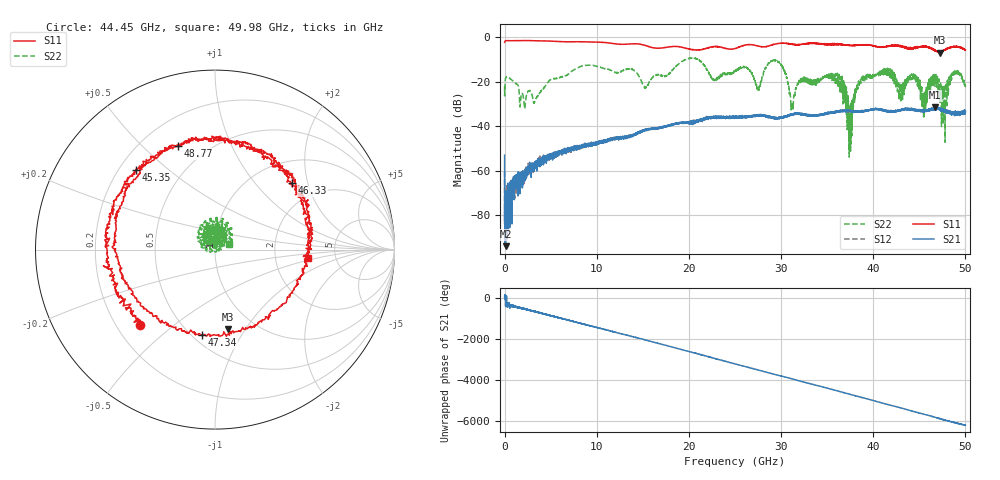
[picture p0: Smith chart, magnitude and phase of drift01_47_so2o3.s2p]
!Created with skrf (http://scikit-rf.org).
# Hz S RI R 50.0
!freq ReS11 ImS11 ReS21 ImS21 ReS12 ImS12 ReS22 ImS22
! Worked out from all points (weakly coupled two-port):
!   10001 points, 300 kHz to 50 GHz, reference 50 ohm
!   highest |S21| = -31.49 dB at 46.74 GHz (marker M1); lowest = -94.0 dB at 100.3 MHz (marker M2)
!   lowest |S11| = -6.9 dB at 47.21 GHz (marker M3), VSWR 2.64, Z = 37.8 - j42.2 ohm
!   |S11| at or under -10 dB: nowhere
!   |S22| runs from -53.9 to -9.2 dB; largest |S21 - S12| = 0.004
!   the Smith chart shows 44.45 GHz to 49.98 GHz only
!   S11 on the Smith chart (normalised r, x): 44.45 GHz: 0.30, -0.38; 45.35 GHz: 0.27, +0.39; 46.33 GHz: 1.47, +1.60; 47.34 GHz: 0.56, -0.69; 48.77 GHz: 0.35, +0.64; 49.98 GHz: 3.12, -0.40
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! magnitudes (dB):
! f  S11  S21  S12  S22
! 300 kHz  -2.1  -53.0  -60.2  -22.1
! 100.3 MHz  -1.5  -94.0  -76.4  -18.4
! 3.29 GHz  -1.5  -56.6  -57.5  -28.9
! 8.335 GHz  -1.9  -48.8  -49.7  -12.9
! 16.67 GHz  -4.9  -40.8  -40.7  -16.6
! 25 GHz  -5.0  -35.6  -35.9  -15.5
! 29.6 GHz  -2.8  -36.3  -36.5  -10.6
! 31.24 GHz  -3.0  -34.6  -34.5  -31.7
! 33.34 GHz  -2.6  -35.1  -34.9  -19.3
! 36.22 GHz  -3.0  -33.6  -33.4  -20.3
! 37.52 GHz  -3.6  -33.2  -33.2  -45.7
! 38.64 GHz  -3.4  -33.3  -33.4  -20.3
! 41.67 GHz  -3.9  -33.7  -33.4  -14.8
! 44.45 GHz  -4.5  -32.5  -32.3  -19.0
! 45.35 GHz  -4.1  -33.0  -32.9  -28.6
! 46.33 GHz  -4.9  -31.9  -32.7  -19.1
! 46.74 GHz  -5.9  -31.5  -31.9  -19.0
! 47.21 GHz  -6.9  -31.9  -32.4  -26.4
! 47.34 GHz  -6.3  -32.1  -32.3  -21.5
! 48.77 GHz  -4.2  -33.7  -34.2  -16.4
! 49.98 GHz  -5.7  -34.5  -33.9  -21.6
! 50 GHz  -5.7  -33.4  -33.9  -21.6
